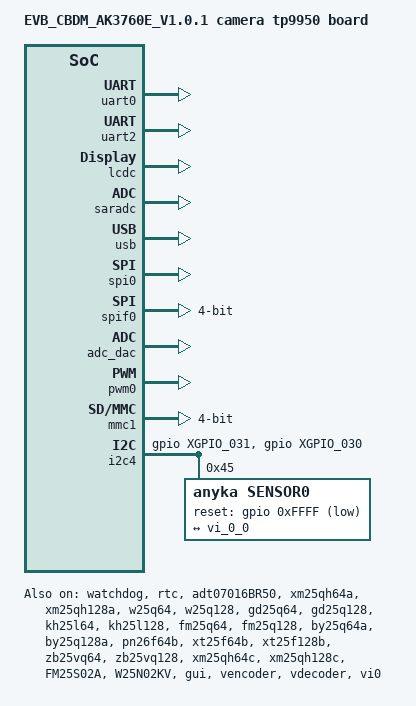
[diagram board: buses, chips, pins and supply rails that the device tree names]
/*
 * Anycloud37e dev board dts
 *
 * Copyright (C) 2020 Anyka(Guangzhou) Microelectronics Technology Co., Ltd.
 *
 * This program is free software; you can redistribute it and/or modify
 * it under the terms of the GNU General Public License as published by
 * the Free Software Foundation; either version 2 of the License, or
 * (at your option) any later version.
 *
 * This program is distributed in the hope that it will be useful,
 * but WITHOUT ANY WARRANTY; without even the implied warranty of
 * MERCHANTABILITY or FITNESS FOR A PARTICULAR PURPOSE.  See the
 * GNU General Public License for more details.
 */

/dts-v1/;
#include "anycloud_ak37e.dtsi"
#include "anycloud_norflash.dtsi"
#include "anycloud_nandflash.dtsi"
#include "anycloud_lcd.dtsi"

/ {
    compatible = "anyka,ak3760e";
    model = "EVB_CBDM_AK3760E_V1.0.1 camera tp9950 board";
    version = "V1.0.00";
};

&gpio {
    /*
    * "anyka,function": func index, please refer to dt-bindings/pinctrl/ak_37e_pinctrl.h
    * "anyka,pull": configuration of the pins
    * bit[7:0]: pull up/down configuration
    *     bit[0]: pull up or pull down selection, 1 means select pull down, 0 means select pull up
    *     bit[4]: pull up or pull down enable, 1 means enable pull up&down function, 0 means disable fuction
    * !!! Notice that not all pin support pull up and pull down. Please refer to the programer's guide.
    * bit[15:8]: driver strength configuration.
    *     bit[9:8] drive strength.
    * bit[23:16]: input enable configuration
    *     bit[16]: 1 means enable input, 0 means disable input.
    * bit[31:24]: pin slew rate configuration
    *     bit[24]: 1 means enable slew rate, 0 means disable slew rate.
    * !!! Notice OTHER bits which not mentioned please set to 0.
    */


    /*10 inch Touch Screen  */
    gslX680_pins: gslX680_pins {
        anyka,pins = <XGPIO_071 XGPIO_075>;
        anyka,function = <XGPIO_071_FUNC_GPIO71 XGPIO_075_FUNC_GPIO75>;
        anyka,pull = <0x00010010 0x00000010>;
    };

    
    i2c2_pins: i2c2_pins {
        anyka,pins = <XGPIO_078 XGPIO_079>;
        anyka,function = <XGPIO_078_FUNC_TWI2_SCL XGPIO_079_FUNC_TWI2_SDA>;
        anyka,pull = <0x1010010>;
    };


    /* i2c2_sleep_pins means: pull up or pull down disable; ie disable */
    i2c2_sleep_pins: i2c2_sleep_pins {
         anyka,pins = <XGPIO_078 XGPIO_079>;
        anyka,function = <XGPIO_078_FUNC_GPIO78 XGPIO_078_FUNC_GPIO78>;
        anyka,pull = <0x00000000>;
    };

    i2c4_pins: i2c4_pins {
        anyka,pins = <XGPIO_030 XGPIO_031>;
        anyka,function = <XGPIO_030_FUNC_GPIO30 XGPIO_031_FUNC_GPIO31>;
        anyka,pull = <0x1010010>;
    };

    /* i2c4_sleep_pins means: pull up or pull down disable; ie disable */
    i2c4_sleep_pins: i2c4_sleep_pins {
        anyka,pins = <XGPIO_030 XGPIO_031>;
        anyka,function = <XGPIO_030_FUNC_GPIO30 XGPIO_031_FUNC_GPIO31>;
        anyka,pull = <0x0000000>;
    };

    pdm_pins: pdm_pins {
        anyka,pins = <XGPIO_008 XGPIO_009>;
        anyka,function = <XGPIO_008_FUNC_PDM_CLK XGPIO_009_FUNC_PDM_DATA>;
        anyka,pull = <0x01010300>;
    };

    dvp0_8bits_pins: dvp0_8bits_pins {
        anyka,pins = <XGPIO_060
                        XGPIO_061
                        XGPIO_062
                        XGPIO_063
                        XGPIO_064
                        XGPIO_065
                        XGPIO_066
                        XGPIO_067>;
        anyka,function = <XGPIO_060_FUNC_CSI0_D0
                        XGPIO_061_FUNC_CSI0_D1
                        XGPIO_062_FUNC_CSI0_D2
                        XGPIO_063_FUNC_CSI0_D3
                        XGPIO_064_FUNC_CSI0_D4
                        XGPIO_065_FUNC_CSI0_D5
                        XGPIO_066_FUNC_CSI0_D6
                        XGPIO_067_FUNC_CSI0_D7>;
        anyka,pull = <0x01010310>;
    };

    dvp0_8bits_pins_sleep: dvp0_8bits_pins_sleep {
        anyka,pins = <XGPIO_060
                        XGPIO_061
                        XGPIO_062
                        XGPIO_063
                        XGPIO_064
                        XGPIO_065
                        XGPIO_066
                        XGPIO_067>;
        anyka,function = <XGPIO_060_FUNC_GPIO60
                        XGPIO_061_FUNC_GPIO61
                        XGPIO_062_FUNC_GPIO62
                        XGPIO_063_FUNC_GPIO63
                        XGPIO_064_FUNC_GPIO64
                        XGPIO_065_FUNC_GPIO65
                        XGPIO_066_FUNC_GPIO66
                        XGPIO_067_FUNC_GPIO67>;
        anyka,pull = <0x00000000>;
    };

    csi0_sclk_pin: csi0_sclk_pin {
        anyka,pins = <XGPIO_056
                        XGPIO_057
                        XGPIO_058
                        XGPIO_059>;
        anyka,function = <XGPIO_056_FUNC_CSI0_SCLK
                        XGPIO_057_FUNC_CSI0_PCLK
                        XGPIO_058_FUNC_CSI0_HSYNC
                        XGPIO_059_FUNC_CSI0_VSYNC>;
        anyka,pull = <0x01010310>;
    };

    csi0_sclk_pin_sleep: csi0_sclk_pin_sleep {
        anyka,pins = <XGPIO_056
                        XGPIO_057
                        XGPIO_058
                        XGPIO_059>;
        anyka,function = <XGPIO_056_FUNC_GPIO56
                        XGPIO_057_FUNC_GPIO57
                        XGPIO_058_FUNC_GPIO58
                        XGPIO_059_FUNC_GPIO59>;
        anyka,pull = <0x00000000>;
    };

    sensor0_reset_pins: sensor0_reset_pins {
        anyka,pins = <XGPIO_072>;
        anyka,function = <XGPIO_072_FUNC_GPIO72>;
        anyka,pull = <0x01000110>;
    };

    uart2_pins: uart2_pins {
        anyka,pins = <XGPIO_083 XGPIO_084>;
        anyka,function = <XGPIO_083_FUNC_UART2_RXD XGPIO_084_FUNC_UART2_TXD>;
        anyka,pull = <0x00010018 0x00000010>;
    };

    uart0_pins: uart0_pins {
        anyka,pins = <XGPIO_022 XGPIO_023>;
        anyka,function = <XGPIO_022_FUNC_UART0_RXD XGPIO_023_FUNC_UART0_TXD>;
        anyka,pull = <0x00010000 0x00000000>;
    };

     pwm0_pins: pwm0_pins {
	    anyka,pins = <XGPIO_082>;
	    anyka,function = <XGPIO_082_FUNC_PWM0>;
        anyka,pull = <0x1000190>;
    };

    pwm0_pins_sleep: pwm0_pins_sleep {
        anyka,pins = <XGPIO_082>;
        anyka,function = <XGPIO_082_FUNC_GPIO82>;
        anyka,pull = <0x00000000>;
    };

    lcd_rgb_pins: lcd_rgb_pins {
        anyka,pins = </*XGPIO_027
                        XGPIO_026*/
                        XGPIO_025
                        XGPIO_024
                        XGPIO_028
                        XGPIO_029
                        XGPIO_055
                        XGPIO_054
                        XGPIO_053
                        XGPIO_052
                        XGPIO_051
                        XGPIO_050
                        XGPIO_049
                        XGPIO_048
                        XGPIO_047
                        XGPIO_046
                        XGPIO_045
                        XGPIO_044
                        XGPIO_043
                        XGPIO_042
                        XGPIO_041
                        XGPIO_040
                        XGPIO_039
                        XGPIO_038
                        XGPIO_037
                        XGPIO_036
                        /*XGPIO_035*/
                        XGPIO_034>;
        anyka,function = </* XGPIO_027_FUNC_RGB_D23
                            XGPIO_026_FUNC_RGB_D22 */
                            XGPIO_025_FUNC_RGB_D21
                            XGPIO_024_FUNC_RGB_D20
                            XGPIO_028_FUNC_RGB_D19
                            XGPIO_029_FUNC_RGB_D18
                            XGPIO_055_FUNC_RGB_D17
                            XGPIO_054_FUNC_RGB_D16
                            XGPIO_053_FUNC_RGB_D15
                            XGPIO_052_FUNC_RGB_D14
                            XGPIO_051_FUNC_RGB_D13
                            XGPIO_050_FUNC_RGB_D12
                            XGPIO_049_FUNC_RGB_D11
                            XGPIO_048_FUNC_RGB_D10
                            XGPIO_047_FUNC_RGB_D9
                            XGPIO_046_FUNC_RGB_D8
                            XGPIO_045_FUNC_RGB_D7
                            XGPIO_044_FUNC_RGB_D6
                            XGPIO_043_FUNC_RGB_D5
                            XGPIO_042_FUNC_RGB_D4
                            XGPIO_041_FUNC_RGB_D3
                            XGPIO_040_FUNC_RGB_D2
                            XGPIO_039_FUNC_RGB_D1
                            XGPIO_038_FUNC_RGB_D0
                            XGPIO_037_FUNC_RGB_VOPCLK
                            XGPIO_036_FUNC_RGB_VOHSYNC
                            /*XGPIO_035_FUNC_RGB_VOVSYNC*/
                            XGPIO_034_FUNC_RGB_VOGATE
                            >;
        anyka,pull = </* 0x00000110
                        0x00000110 */
                        0x00000010
                        0x00000010
                        0x00000010
                        0x00000010
                        0x00000010
                        0x00000010
                        0x00000010
                        0x00000010
                        0x00000010
                        0x00000010
                        0x00000010
                        0x00000010
                        0x00000010
                        0x00000010
                        0x00000010
                        0x00000010
                        0x00000010
                        0x00000010
                        0x00000010
                        0x00000010
                        0x00000010
                        0x00000010
                        0x00000010
                        0x00000010
                        /*0x00000010*/
                        0x00000010>;
    };

    lcd_rgb_pins_sleep: lcd_rgb_pins_sleep {
        anyka,pins = <XGPIO_027
                        XGPIO_026
                        XGPIO_025
                        XGPIO_024
                        XGPIO_028
                        XGPIO_029
                        XGPIO_055
                        XGPIO_054
                        XGPIO_053
                        XGPIO_052
                        XGPIO_051
                        XGPIO_050
                        XGPIO_049
                        XGPIO_048
                        XGPIO_047
                        XGPIO_046
                        XGPIO_045
                        XGPIO_044
                        XGPIO_043
                        XGPIO_042
                        XGPIO_041
                        XGPIO_040
                        XGPIO_039
                        XGPIO_038
                        XGPIO_037
                        XGPIO_036
                        XGPIO_035
                        XGPIO_034>;
        anyka,function = <XGPIO_027_FUNC_GPIO27
                            XGPIO_026_FUNC_GPIO26
                            XGPIO_025_FUNC_GPIO25
                            XGPIO_024_FUNC_GPIO24
                            XGPIO_028_FUNC_GPIO28
                            XGPIO_029_FUNC_GPIO29
                            XGPIO_055_FUNC_GPIO55
                            XGPIO_054_FUNC_GPIO54
                            XGPIO_053_FUNC_GPIO53
                            XGPIO_052_FUNC_GPIO52
                            XGPIO_051_FUNC_GPIO51
                            XGPIO_050_FUNC_GPIO50
                            XGPIO_049_FUNC_GPIO49
                            XGPIO_048_FUNC_GPIO48
                            XGPIO_047_FUNC_GPIO47
                            XGPIO_046_FUNC_GPIO46
                            XGPIO_045_FUNC_GPIO45
                            XGPIO_044_FUNC_GPIO44
                            XGPIO_043_FUNC_GPIO43
                            XGPIO_042_FUNC_GPIO42
                            XGPIO_041_FUNC_GPIO41
                            XGPIO_040_FUNC_GPIO40
                            XGPIO_039_FUNC_GPIO39
                            XGPIO_038_FUNC_GPIO38
                            XGPIO_037_FUNC_GPIO37
                            XGPIO_036_FUNC_GPIO36
                            XGPIO_035_FUNC_GPIO35
                            XGPIO_034_FUNC_GPIO34
                            >;
        anyka,pull = <0x00000000>;
    };

    lcd_power_pins: lcd_power_pins {
        anyka,pins = <XGPIO_073>;
        anyka,function = <XGPIO_073_FUNC_GPIO73>;
        anyka,pull = <0x00000010>;
    };

    outdoor_power_pins: outdoor_power_pins {
        anyka,pins = <XGPIO_069 XGPIO_070>;
        anyka,function = <XGPIO_069_FUNC_GPIO69 XGPIO_070_FUNC_GPIO70>;
        anyka,pull = <0x00010000>;
    };


    mci1_pins: mci1_pins {
        anyka,pins = <XGPIO_016 XGPIO_017 XGPIO_018 XGPIO_019 XGPIO_020 XGPIO_021>;
        anyka,function = <XGPIO_016_FUNC_SD1_D1
                            XGPIO_017_FUNC_SD1_D0
                            XGPIO_018_FUNC_SD1_MCLK
                            XGPIO_019_FUNC_SD1_CMD
                            XGPIO_020_FUNC_SD1_D3
                            XGPIO_021_FUNC_SD1_D2>;
        anyka,pull = <0x00010010 0x00010010 0x00010001 0x00010010 0x00010010 0x00010010>;
	    // anyka,pull = <0x1010310>;
        // anyka,pull = <0x00000000 0x00000000 0x00000000 0x00000000 0x00000000 0x00000000>;
    };

    /* mci1_idle_pins  means: pull up or pull down disable; ie disable */
    mci1_idle_pins: mci1_idle_pins {
        anyka,pins = <XGPIO_016 XGPIO_017 XGPIO_018 XGPIO_019 XGPIO_020 XGPIO_021>;
        anyka,function = <XGPIO_016_FUNC_GPIO16
                            XGPIO_017_FUNC_GPIO17
                            XGPIO_018_FUNC_GPIO18
                            XGPIO_019_FUNC_GPIO19
                            XGPIO_020_FUNC_GPIO20
                            XGPIO_021_FUNC_GPIO21>;
        anyka,pull = <0x00000000>;
    };

    tf_det_pins: tf_det_pins{
        anyka,pins = <XGPIO_085>;
        anyka,function = <XGPIO_085_FUNC_GPIO85>;
        anyka,pull = <0x1010310>;
    };

    tf_en_pins: tf_en_pins {
        anyka,pins = <XGPIO_076>;
        anyka,function = <XGPIO_076_FUNC_GPIO76>;
        anyka,pull = <0x1010310>;
    };
};

&uart0 {
    pinctrl-names = "default";
    pinctrl-0 = <&uart0_pins>;
    status = "okay";
};

&uart2 {
    pinctrl-names = "default";
    pinctrl-0 = <&uart2_pins>;
    status = "okay";
};

&watchdog {
    /*max feed dog time = 357s, default setting time = 10s. */
    def_heartbeat = <10>;
    status = "okay";
};

&rtc {
    /*
     * rtc osc_source_select, 1 means INTERNAL RC OSC, 0 means EXTERNAL XTAL
     * if internal RC OSC is used to generate 32KH,time adjustment should be setting.(basic unit: ms)
     */
    osc-select = <1>;//1
    adjust-time = <5000>;//5000
    adjust-based-on-timer;
    status = "okay";
};

&i2c2 {
    pinctrl-names = "default","sleep";
    pinctrl-0 = <&i2c2_pins>;
    pinctrl-1 = <&i2c2_sleep_pins>;

    clock-frequency = <400000>;
    sda-delay = <100>;
    status = "diable";
    #address-cells = <1>;
    #size-cells = <0>;

    // touch-screen@40 {
    //     compatible = "anyka,ak37e-i2c-touchscreen-gslX680";
    //     reg = <0x40>;
    //     //reg = <0x14>;

    //     /* 10 inch MIPI touch-pane irq and reset gpio setting */
    //     pinctrl-names = "default";
    //     pinctrl-0 = <&gslX680_pins>;
    //     irq-gpio = <&gpio 77 1>;
    //     reset-gpio = <&gpio 75 1>;
    //     TP_MAX_X = <1024>;
    //     TP_MAX_Y = <600>;

    //     interrupt-parent = <&gpio>;
    //         interrupts = <77 1>;
    //         interrupts-name = "irq-gpios";
    //     status = "diable";
    // };
};

/* RGB panel*/
&lcdc {
    pinctrl-names = "default";//"sleep";
    pinctrl-0 = <&lcd_rgb_pins  &lcd_power_pins>;
    // pinctrl-1 = <&lcd_rgb_pins_sleep  &lcd_power_pins>;
    // pinctrl-1 = <&outdoor_power_pins>;
    reset-pins = <&gpio 0xFFFF 0>;
    pwr-gpio = <&gpio 0xFFFF 0>;

    door1-pwr-gpio = <&gpio 69 0>;
    door2-pwr-gpio = <&gpio 70 0>;

    backlight-gpio = <&gpio 82 1>;

    lcd-logo-width = <1024>;   // calluse:252  ff:175
    lcd-logo-height = <600>;   // calluse:67   ff:104
    //[fmt1:fmt0] 00 16bits input(RGB565 or BGR565)
    //[fmt1:fmt0] 01 24bits input(RGB888 or BGR888)
    //[fmt1:fmt0] 10 or 11 32bits input(ARGB888 ABGR888 RGBA888 BGRA888)
    lcd-logo-fmt0 = <1>;
    lcd-logo-fmt1 = <0>;
    lcd-logo-rgb-seq = <0>; //0 for BGR, 1 for RGB

    lcd-fb-type = <1>; //0:single buffer; 1:double buffer
    status = "okay";
};

/* 4.3 inch rgb */
&sat043bo40d {
    // panel-pclk-div = <46>;
    status = "disable";
};

&adt07016BR50 {
    // panel-pclk-div = <46>;
    status = "okay";
};

&saradc{
    /* SAR ADC VREF selection
    * 0:To select AVCC 3.3V as VREF for SAR ADC.
    * 1:To select 3.0V generated from BGR as VREF for SAR ADC.
    */
    vref-select = <0>;
    /*
    * 0:To disable BAT voltage divider.
    * 1:To enable BAT voltage divider divided by 2.
    */
    battery-divider = <1>;
    /*
    * Sampling number
    * Read the sampling data for N times and then calculate the average value.
    * N ranges from 1 to 7.
    */
    sampling-num = <3>;
    status = "okay";
};

&usb {
    status = "okay";
};

&spi0 {
    pinctrl-names = "default","sleep";
    pinctrl-0 = <&spiflash_pins &spi_nand_flash_cs_pins>;
    pinctrl-1 = <&spiflash_pins_sleep &spi_nand_flash_cs_pins_sleep>;
    spi-bus-frequency = <80000000>;
    /*
     * cap-spi-highspeed;
     * if defined, means high speed controller(Maximum 80M/s);
     * if not, means normal speed controller(below 60M/s)
     */
    cap-spi-highspeed;
    status = "okay";
};

&spif0 {
    /* spi flash data bus width:
    ** 1 means 1 wire mode.
    ** 2 means 2 wire mode
    ** 4 means 4 wire mode.
    ** default: 4 wire mode.
    **/
    bus-width = <4>;
    status = "okay";
};

&xm25qh64a{
    status = "okay";
};

&xm25qh128a{
    status = "okay";
};

&w25q64{
    status = "okay";
};

&w25q128{
    status = "okay";
};

&gd25q64{
    status = "okay";
};

&gd25q128{
    status = "okay";
};

&kh25l64{
    status = "okay";
};

&kh25l128{
    status = "okay";
};

&fm25q64{
    status = "okay";
};

&fm25q128{
    status = "okay";
};

&by25q64a{
    status = "okay";
};

&by25q128a{
    status = "okay";
};

&pn26f64b{
    status = "okay";
};

&xt25f64b{
    status = "okay";
};

&xt25f128b{
    status = "okay";
};

&zb25vq64{
    status = "okay";
};

&zb25vq128{
    status = "okay";
};

&xm25qh64c{
    status = "okay";
};

&xm25qh128c{
    status = "okay";
};

&FM25S02A{
    status = "okay";
};

&W25N02KV{
    status = "okay";
};

&adc_dac {
    pinctrl-names = "pdm_pins";
    pinctrl-0 = <&pdm_pins>;
    /*
    * The level of speak-gpios votage for power on audio: 0=low, 1=high
    */
    status = "okay";

    dev0 {
        snd-dev = <SND_CARD_DAC_PLAYBACK>;
        snd-type = <AK_PCM_DEV_PLAYBACK>;
    };

    dev1 {
        snd-dev = <SND_CARD_ADC_CAPTURE>;
        snd-type = <AK_PCM_DEV_CAPTURE>;
    };

    dev2 {
        snd-dev = <SND_CARD_DAC_LOOPBACK>;
        snd-type = <AK_PCM_DEV_LOOPBACK>;
    };

    dev3 {
        snd-dev = <SND_CARD_PDM_RECV>;
        snd-type = <AK_PCM_DEV_CAPTURE>;
    };
};

&pwm0 {
    pinctrl-names = "default";
    pinctrl-0 = <&pwm0_pins>;
    /*
    * frequency of PWM ranges from 92/256Hz(0.36Hz) to 6MHz.
    * duty of PWM ranges from 1 to 65535.
    * Minimum duty cycle:1/65536
    * Maximum duty cyscle:65535/65536.
    * period-ns: period of the PWM signal (in nanoseconds)
    * duty-ns: duty cycle of the PWM signal (in nanoseconds)
    * pwm-enable = 0 means disable pwm function.
    * pwm-enable = 1 means enable pwm function.
    */
    period-ns = <10869565>;
    duty-ns = <10869565>;
    pwm-enable = <1>;
    status = "okay";
};

&gui{
    status = "okay";
};

&mmc1 {
    bus-width = <0x4>;
    max-frequency = <50000000>;
    /*
     *  detect mode:
     *  (1) non-removable;
     *  (2) detect-gpio/detect-gpios: card detect using gpio
     *      for example:
     *      detect-gpio = <&gpio 76 1>;  or detect-gpios = <&gpio 76 1>;
     *  (3) cd_clk: card detect using MCLK
     */
    detect-gpio = <&gpio 85 0>;
    /* if support highspeed, using cap-sd-highspeed */
    cap-sd-highspeed;
    pinctrl-names = "default","idle";
    /*pinctrl-0 = <&mci1_pins>,<&tf_en_pins>;*/
    pinctrl-0 = <&mci1_pins>,<&tf_en_pins>,<&tf_det_pins>;
    pinctrl-1 = <&mci1_idle_pins>;
    /*
    * support tf card circuit enable function
    */
     /*power-pins = <&gpio 0xFFFF 1>;      //power-pins is which tf_en_pins describes
    power-inverted; */
    power-pins = <&gpio 76 1>; 
    status = "okay";
};

&vencoder {
    status = "okay";
};

&vdecoder{
    status = "okay";
};

&i2c4 {
    pinctrl-names = "default","sleep";
    pinctrl-0 = <&i2c4_pins>;
    pinctrl-1 = <&i2c4_sleep_pins>;

    /*
    * SDA -- SCL
    */
    gpios = <&gpio XGPIO_031 GPIO_ACTIVE_HIGH
             &gpio XGPIO_030 GPIO_ACTIVE_HIGH
            >;

    i2c-gpio,delay-us = <1>;
    status = "okay";

    sensor0: camera@0x45{
        compatible = "anyka,sensor0";
        reg = <0x45>;
        pinctrl-names = "default";
        pinctrl-0 = <&sensor0_reset_pins>;
        /*
        * 0xFFFF means the gpio is invalid
        */
        reset-gpio = <&gpio 0xFFFF 1>;

        port {
            sensor0_0: endpoint@0 {
                remote-endpoint = <&vi_0_0>;
            };
        };
    };

    //     touch-screen@40 {
    //     compatible = "anyka,ak37e-i2c-touchscreen-gslX680";
    //     reg = <0x40>;
    //     //reg = <0x14>;

    //     /* 10 inch MIPI touch-pane irq and reset gpio setting */
    //     pinctrl-names = "default";
    //     pinctrl-0 = <&gslX680_pins>;
    //     irq-gpio = <&gpio 71 1>;
    //     reset-gpio = <&gpio 75 1>;
    //     TP_MAX_X = <1024>;
    //     TP_MAX_Y = <600>;

    //     interrupt-parent = <&gpio>;
    //         interrupts = <71 1>;
    //         interrupts-name = "irq-gpios";
    //     status = "okay";
    // };
};

&vi0 {
    pinctrl-names = "default", "sleep", "dvp0_8bits", "csi0_sclk";
    pinctrl-0 = <&dvp0_8bits_pins &csi0_sclk_pin>;
    pinctrl-1 = <&dvp0_8bits_pins_sleep &csi0_sclk_pin_sleep>;
    pinctrl-2 = <&dvp0_8bits_pins>;
    pinctrl-3 = <&csi0_sclk_pin>;
    status = "okay";

    port@0 {
        #address-cells = <1>;
        #size-cells = <0>;

        vi_0_0: endpoint@0 {
            reg = <0>;
            remote-endpoint = <&sensor0_0>;
        };
    };
};
